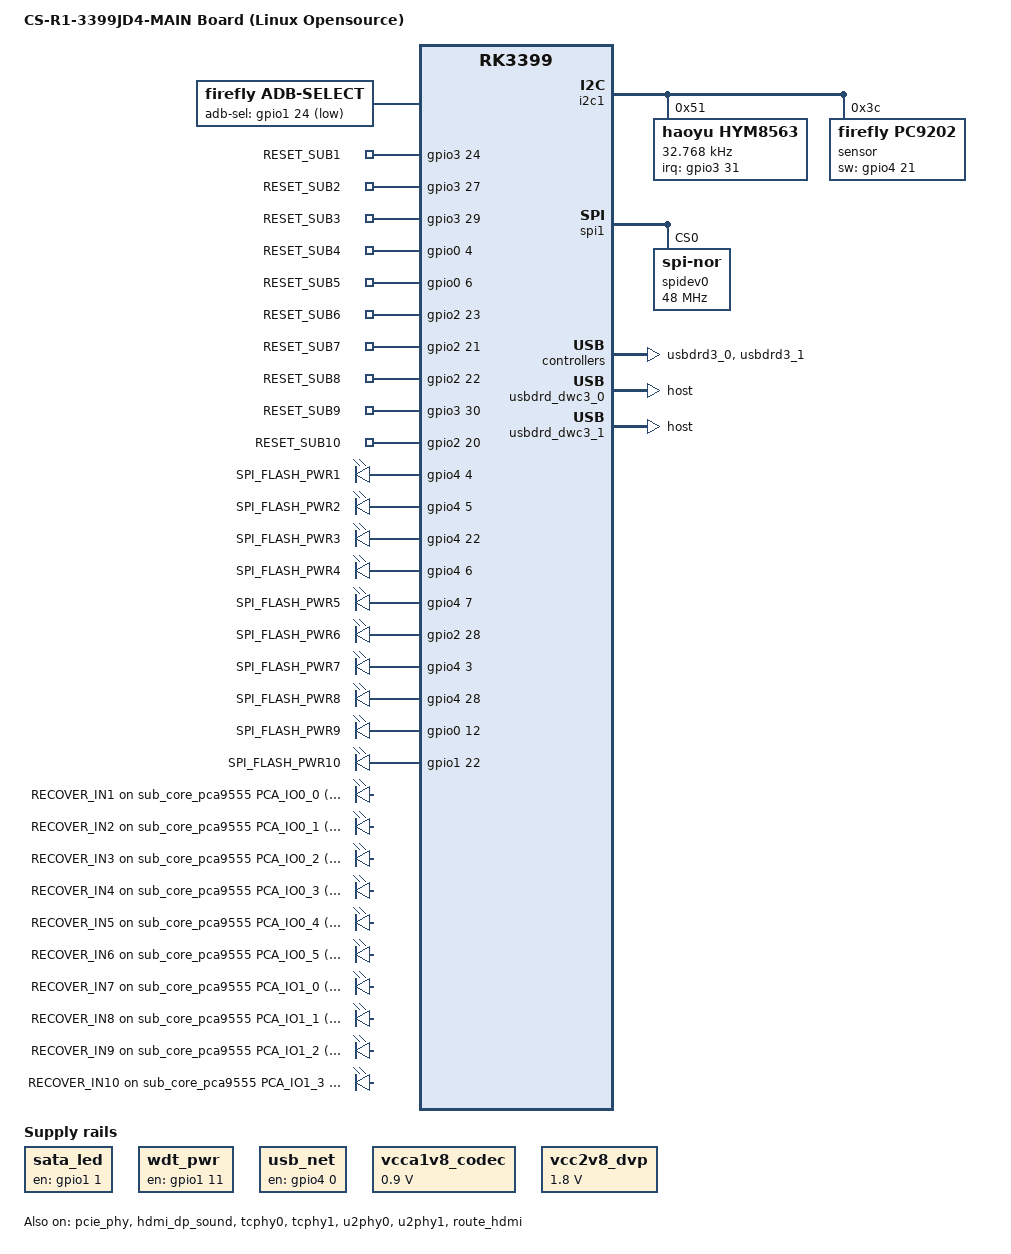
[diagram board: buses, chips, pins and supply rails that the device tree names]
/dts-v1/;

#include "rk3399-firefly-port.dtsi"
#include <dt-bindings/sensor-dev.h>

#define PCA955_I2C_CLK 100000

/ {
	model = "CS-R1-3399JD4-MAIN Board (Linux Opensource)";
	compatible = "rockchip,rk3399-firefly", "rockchip,rk3399";

	/delete-node/ gpio-keys;
	/delete-node/ wireless-wlan;
	/delete-node/ wireless-bluetooth;
	/delete-node/ external-gmac-clock;
	test-power {
		status = "okay";
	};

	adb-select {
		status = "okay";
		compatible = "firefly,adb-select";
		adb-sel-gpio = <&gpio1 24 GPIO_ACTIVE_LOW>;
		pinctrl-names = "default";
		pinctrl-0 = <&adb_sel>;
	};

	sata_led: sata-led {
		 compatible = "regulator-fixed";
		 enable-active-high;
		 gpio = <&gpio1 1 GPIO_ACTIVE_HIGH>;
		 pinctrl-names = "default";
		 pinctrl-0 = <&sata_sel>;
		 regulator-name = "sata_led";
		 regulator-always-on;
		 status = "okay";

	 };

	wdt_pwr: wdt-pwr {
		compatible = "regulator-fixed";
		enable-active-high;
		gpio = <&gpio1 11 GPIO_ACTIVE_HIGH>;
		pinctrl-names = "default";
		pinctrl-0 = <&wdt_pwr_pin>;
		regulator-name = "wdt_pwr";
		regulator-always-on;
		status = "okay";
	};

	usb_net: usb-net {
		compatible = "regulator-fixed";
		enable-active-high;
		gpio = <&gpio4 0 GPIO_ACTIVE_HIGH>;
		pinctrl-names = "default";
		pinctrl-0 = <&usb_net_ctl>;
		regulator-name = "usb_net";
		regulator-always-on;
		status = "okay";
	};

	pca9555_rst: pca9555-rst {
		compatible = "regulator-fixed";
		enable-active-low;
		gpio = <&gpio2 3 GPIO_ACTIVE_LOW>;
		pinctrl-names = "default";
		pinctrl-0 = <&pca9555_rst_pin>;
		regulator-name = "pca5555_rst";
		regulator-always-on;
		status = "disabled";
	};

	leds {
		compatible = "gpio-leds";

		//子板的reset脚，写0会reset子板
		RESET_SUB1 {
			gpios = <&gpio3 24 GPIO_ACTIVE_HIGH>;	//GPIO3_D0 96+24
			default-state = "off";
			retain-state-shutdown;
		};

		RESET_SUB2 {
			gpios = <&gpio3 27 GPIO_ACTIVE_HIGH>;	//GPIO3_D3 96+24+3
			default-state = "off";
			retain-state-shutdown;
		};

		RESET_SUB3 {
			gpios = <&gpio3 29 GPIO_ACTIVE_HIGH>;	//GPIO3_D5 96+24+5
			default-state = "off";
			retain-state-shutdown;
		};

		RESET_SUB4 {
			gpios = <&gpio0 4 GPIO_ACTIVE_HIGH>;	//GPIO0_A4 0+4
			default-state = "off";
			retain-state-shutdown;
		};

		RESET_SUB5 {
			gpios = <&gpio0 6 GPIO_ACTIVE_HIGH>;	//GPIO0_A6 0+6
			default-state = "off";
			retain-state-shutdown;
		};

		RESET_SUB6 {
			gpios = <&gpio2 23 GPIO_ACTIVE_HIGH>;	//GPIO2_C7 32*2+16+7
			default-state = "off";
			retain-state-shutdown;
		};

		RESET_SUB7 {
			gpios = <&gpio2 21 GPIO_ACTIVE_HIGH>;	//GPIO2_C5 32*2+16+5
			default-state = "off";
			retain-state-shutdown;
		};

		RESET_SUB8 {
			gpios = <&gpio2 22 GPIO_ACTIVE_HIGH>;	//GPIO2_C6 32*2+16+6
			default-state = "off";
			retain-state-shutdown;
		};

		RESET_SUB9 {
			gpios = <&gpio3 30 GPIO_ACTIVE_HIGH>;	//GPIO3_D6 32*2+24+6
			default-state = "off";
			retain-state-shutdown;
		};

		RESET_SUB10 {
			gpios = <&gpio2 20 GPIO_ACTIVE_HIGH>;	//GPIO2_C4 32*2+16+4
			default-state = "off";
			retain-state-shutdown;
		};

		//SPI FLASH的电源脚
		SPI_FLASH_PWR1 {
			gpios = <&gpio4 4 GPIO_ACTIVE_HIGH>;	//SPI_FLASH_PWR1 GPIO4_A4	128+4		=132
			default-state = "off";
		};

		SPI_FLASH_PWR2 {
			gpios = <&gpio4 5 GPIO_ACTIVE_HIGH>;	//SPI_FLASH_PWR2 GPIO4_A5	128+5		=133
			default-state = "off";
		};

		SPI_FLASH_PWR3 {
			gpios = <&gpio4 22 GPIO_ACTIVE_HIGH>;	//SPI_FLASH_PWR3 GPIO4_C6	128+16+6		=150
			default-state = "off";
		};

		SPI_FLASH_PWR4 {
			gpios = <&gpio4 6 GPIO_ACTIVE_HIGH>;	//SPI_FLASH_PWR4 GPIO4_A6	128+6		=134
			default-state = "off";
		};

		SPI_FLASH_PWR5 {
			gpios = <&gpio4 7 GPIO_ACTIVE_HIGH>;	//SPI_FLASH_PWR5 GPIO4_A7	128+7		=135
			default-state = "off";
		};

		SPI_FLASH_PWR6 {
			gpios = <&gpio2 28 GPIO_ACTIVE_HIGH>;	//SPI_FLASH_PWR6 GPIO2_D4	64+24+4		=92
			default-state = "off";
		};

		SPI_FLASH_PWR7 {
			gpios = <&gpio4 3 GPIO_ACTIVE_HIGH>;	//SPI_FLASH_PWR7 GPIO4_A3	128+3		=131
			default-state = "off";
		};

		SPI_FLASH_PWR8 {
			gpios = <&gpio4 28 GPIO_ACTIVE_HIGH>;	//SPI_FLASH_PWR8 GPIO4_D4	128+24+4	=156
			default-state = "off";
		};

		SPI_FLASH_PWR9 {
			gpios = <&gpio0 12 GPIO_ACTIVE_HIGH>;	//SPI_FLASH_PWR9 GPIO0_B4	0+8+4		=12
			default-state = "off";
		};

		SPI_FLASH_PWR10 {
			gpios = <&gpio1 22 GPIO_ACTIVE_HIGH>;	//SPI_FLASH_PWR10 GPIO1_C6	32+16+6		=54
			default-state = "off";
		};

		//子板的Recovery 按键

		RECOVER_IN1 {
			gpios = <&sub_core_pca9555 PCA_IO0_0 GPIO_ACTIVE_LOW>;	//RECOVER_IN1	PCA9555	IO_00
			default-state = "off";
			retain-state-shutdown;
		};

		RECOVER_IN2 {
			gpios = <&sub_core_pca9555 PCA_IO0_1 GPIO_ACTIVE_LOW>;	//RECOVER_IN2	PCA9555	IO_01
			default-state = "off";
			retain-state-shutdown;
		};

		RECOVER_IN3 {
			gpios = <&sub_core_pca9555 PCA_IO0_2 GPIO_ACTIVE_LOW>;	//RECOVER_IN3	PCA9555	IO_02
			default-state = "off";
			retain-state-shutdown;
		};

		RECOVER_IN4 {
			gpios = <&sub_core_pca9555 PCA_IO0_3 GPIO_ACTIVE_LOW>;	//RECOVER_IN4	PCA9555	IO_03
			default-state = "off";
			retain-state-shutdown;
		};

		RECOVER_IN5 {
			gpios = <&sub_core_pca9555 PCA_IO0_4 GPIO_ACTIVE_LOW>;	//RECOVER_IN5	PCA9555	IO_04
			default-state = "off";
			retain-state-shutdown;
		};

		RECOVER_IN6 {
			gpios = <&sub_core_pca9555 PCA_IO0_5 GPIO_ACTIVE_LOW>;	//RECOVER_IN6	PCA9555	IO_05
			default-state = "off";
			retain-state-shutdown;
		};

		RECOVER_IN7 {
			gpios = <&sub_core_pca9555 PCA_IO1_0 GPIO_ACTIVE_LOW>;	//RECOVER_IN7	PCA9555	IO_10
			default-state = "off";
			retain-state-shutdown;
		};

		RECOVER_IN8 {
			gpios = <&sub_core_pca9555 PCA_IO1_1 GPIO_ACTIVE_LOW>;	//RECOVER_IN8	PCA9555	IO_11
			default-state = "off";
			retain-state-shutdown;
		};

		RECOVER_IN9 {
			gpios = <&sub_core_pca9555 PCA_IO1_2 GPIO_ACTIVE_LOW>;	//RECOVER_IN9	PCA9555	IO_12
			default-state = "off";
			retain-state-shutdown;
		};

		RECOVER_IN10 {
			gpios = <&sub_core_pca9555 PCA_IO1_3 GPIO_ACTIVE_LOW>;	//RECOVER_IN10	PCA9555	IO_13
			default-state = "off";
			retain-state-shutdown;
		};
	};

};


&cru {
		assigned-clock-rates =
			 <75000000>, <50000000>,
			 <50000000>, <50000000>,
			 <50000000>, <100000000>,
			 <50000000>, <150000000>,
			 <150000000>, <150000000>,
			 <50000000>, <150000000>,
			 <50000000>, <100000000>,
			 <75000000>, <75000000>,
			 <816000000>, <816000000>,
			 <500000000>, <200000000>,
			 <800000000>, <150000000>,
			 <75000000>, <37500000>,
			 <300000000>, <100000000>,
			 <50000000>, <100000000>,
			 <50000000>, <100000000>,
			 <100000000>, <100000000>,
			 <100000000>, <100000000>,
			 <100000000>, <50000000>,
			 <50000000>, <50000000>,
			 <50000000>, <50000000>,
			 <200000000>, <400000000>,
			 <400000000>, <100000000>,
			 <100000000>, <100000000>,
			 <400000000>, <400000000>,
			 <200000000>, <100000000>,
			 <200000000>, <200000000>,
			 <100000000>, <400000000>,
			 <400000000>, <400000000>,
			 <400000000>, <300000000>,
			 <400000000>, <200000000>,
			 <400000000>, <300000000>,
			 <300000000>, <300000000>,
			 <300000000>, <600000000>,/* aclk_cci */
			 <100000000>, <150000000>,
			 <150000000>, <400000000>,
			 <100000000>, <400000000>,
			 <100000000>;
};


&pwm3 {
	status = "disabled";
};

&sdio0 {
	status = "disabled";
};

&sdio_pwrseq {
	status = "disabled";
};

&i2s0 {
	status = "disabled";
};

&i2s1 {
	status = "disabled";
};

&sdmmc {
	status = "disabled";
};

&rt5640 {
	status = "disabled";
};

/* rtc */
&rk808{
	/delete-property/ pmic,stby-gpio;
	/delete-property/ rockchip,system-power-controller;
	/delete-property/ pmic,hold-gpio;
	pinctrl-0 = <&pmic_int_l &pmic_dvs2 &pmic_hold>;
	rtc {
		status = "disabled";
	};
};

//pcie0 reset port
&pcie0 {
	ep-gpios = <&gpio1 4 GPIO_ACTIVE_HIGH>;
	/delete-property/pinctrl-names;
	/delete-property/pinctrl-0;
	max-link-speed = <2>;
};

&pcie_phy {
    status = "okay";
};

&vcc3v3_pcie {
    status = "okay";
    gpio = <&gpio1 4 GPIO_ACTIVE_HIGH>;
};

&i2c4 {
	status = "disabled";
};

&i2c1 {
	status = "okay";
	hym8563: hym8563@51 {
		compatible = "haoyu,hym8563";
		reg = <0x51>;
		interrupt-parent = <&gpio3>;
		interrupts = <31 IRQ_TYPE_EDGE_FALLING>;
		pinctrl-names = "default";
		pinctrl-0 = <&rtc_int>;
		#clock-cells = <0>;
		clock-frequency = <32768>;
		clock-output-names = "xin32k";
	};



	sensor@3c {
		 status = "okay";
		 compatible = "firefly,pc9202";
		 sw-gpio = <&gpio4 21 GPIO_ACTIVE_HIGH>;
	         pinctrl-names = "default";
	         pinctrl-0 = <&wdt_ctl>;
		 reg = <0x3c>;
	};

};

/* Usb 5v */

&vcc5v0_host {
	gpio = <&gpio1 23 GPIO_ACTIVE_HIGH>;
};

&host_vbus_drv {
	rockchip,pins = <1 23 RK_FUNC_GPIO &pcfg_pull_none>;
};

/* Mini pcie 4G */

&vcc3v3_3g {
	gpio = <&gpio3 28 GPIO_ACTIVE_HIGH>;
};

&pcie_3g_drv {
	rockchip,pins = <3 28 RK_FUNC_GPIO &pcfg_pull_up>;
};

&spi1 {
	status = "okay";
	max-freq = <48000000>;
	dev-port = <0>;

	spidev0: spidev@00 {
		status = "okay";
		//compatible = "linux,spidev";
		compatible = "jedec,spi-nor";
		reg = <0x00>;
		spi-max-frequency = <48000000>;
	};
/*
       spi_demo: spi-demo@00{
              status = "okay";
              compatible = "firefly,rk3399-spi";
              reg = <0x00>;
              spi-max-frequency = <48000000>;
*/
/* rk3399 driver support SPI_CPOL | SPI_CPHA | SPI_CS_HIGH */
              //spi-cpha;             /* SPI mode: CPHA=1 */
              //spi-cpol;     /* SPI mode: CPOL=1 */
              //spi-cs-high;
//      };
};


&gmac {
	tx_delay = <0x2c>;
	rx_delay = <0x28>;
	clock_in_out = "output";
	clk_alway_enable = "true";
	assigned-clocks = <&cru SCLK_MAC>, <&cru SCLK_RMII_SRC>;
	assigned-clock-rates = <0>, <125000000>;
	assigned-clock-parents = <&cru PLL_NPLL>, <&cru SCLK_MAC>;
};

&hdmi_dp_sound {
	status = "okay";
};

&i2c2 {
	status = "disabled";
	i2c-scl-rising-time-ns = <300>;
	i2c-scl-falling-time-ns = <15>;
};

&i2c6 {
	status = "disabled";
	i2c-scl-rising-time-ns = <300>;
	i2c-scl-falling-time-ns = <15>;
	clock-frequency = <PCA955_I2C_CLK>;

	sub_core_pca9555: gpio@27 {
		status = "disabled";
		compatible = "nxp,pca9555";
		reg = <0x27>;
		gpio-controller;
		#gpio-cells = <2>;
		gpio-group-num = <250>;
		label = "sub";
	};
};

&vcca1v8_codec {
	regulator-min-microvolt = <900000>;
	regulator-max-microvolt = <900000>;
};




&vcc3v3_pcie {
	/delete-property/ gpio;
};



&uart4 {
    status = "disabled";
};

&dp_in_vopb {
	status = "disabled";
};

&hdmi_in_vopl {
	status = "disabled";
};

&wdt {
	status = "disabled";
};

&io_domains {
	bt656-supply = <&vcc_3v0>;
};

&vcc2v8_dvp {
	regulator-min-microvolt = <1800000>;
	regulator-max-microvolt = <1800000>;
};

&vcca1v8_codec {
	regulator-min-microvolt = <900000>;
	regulator-max-microvolt = <900000>;
};


&fusb0 {
    status = "disabled";
};

&cdn_dp {
    status = "disabled";
};

&tcphy0 {
    /delete-property/ extcon;
    status = "okay";
};

&tcphy1 {
    /delete-property/ extcon;
    status = "okay";
};

&u2phy0 {
    status = "okay";
    /delete-property/ extcon;

    u2phy0_otg: otg-port {
        status = "okay";
    };
};

&u2phy1 {
    status = "okay";
    /delete-property/ extcon;

    u2phy1_otg: otg-port {
	firefly,vbus-no-det; //set typec peripheral mode when det pin not connect
        status = "okay";
    };
};

&usbdrd3_0 {
    status = "okay";
    /delete-property/ extcon;
};

&usbdrd_dwc3_0 {
    dr_mode = "host";
};

&usbdrd3_1 {
    status = "okay";
};

&usbdrd_dwc3_1 {
    dr_mode = "host";
    status = "okay";
};

&route_hdmi {
	status = "okay";
};

&rk808 {
     /delete-property/ pmic,stby-gpio;
     /delete-property/ pmic,hold-gpio;
};

&pinctrl {
	hym8563 {
		rtc_int: rtc-int {
			rockchip,pins = <RK_GPIO3 31 RK_FUNC_GPIO &pcfg_pull_up>;
		};
	};

	pca9555 {
		pca9555_rst_pin: pca9555-rst-pin {
			rockchip,pins = <RK_GPIO2 3 RK_FUNC_GPIO &pcfg_pull_up>;
		};
	};

	adb {
		adb_sel: adb-sel {
			rockchip,pins = <RK_GPIO1 24 RK_FUNC_GPIO &pcfg_pull_up>;
		};
	};

	sata {
		sata_sel: sata-sel {
			rockchip,pins = <RK_GPIO1 1 RK_FUNC_GPIO &pcfg_pull_up>;
		};
	};

	wdt-pin {
       		wdt_pwr_pin: wdt-pwr-pin {
                       rockchip,pins = <RK_GPIO1 11 RK_FUNC_GPIO &pcfg_pull_up>;
                };

       		wdt_ctl: wdt-ctl {
                       rockchip,pins = <RK_GPIO4 21 RK_FUNC_GPIO &pcfg_pull_up>;
                };

       };

       usb_net_pwr {
       		usb_net_ctl: usb-net-ctl {
                       rockchip,pins = <RK_GPIO4 0 RK_FUNC_GPIO &pcfg_pull_up>;
               };
       };

};

